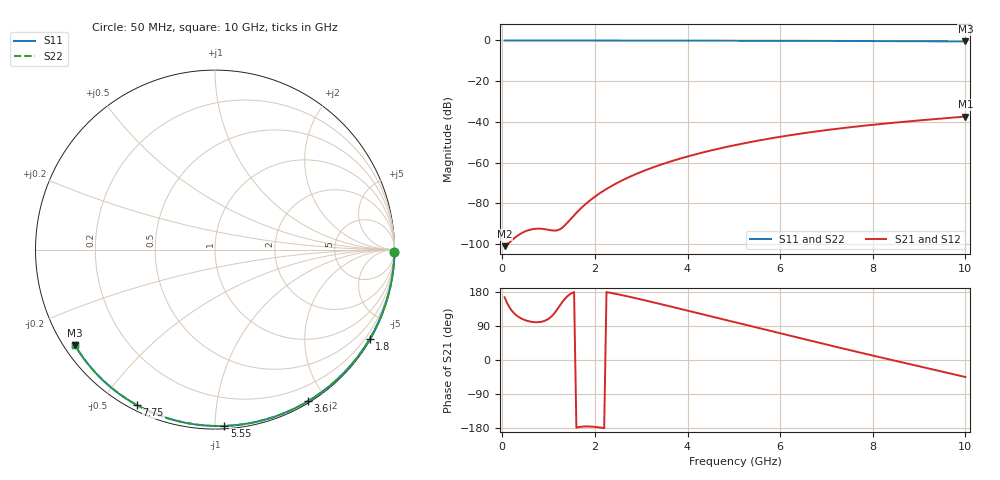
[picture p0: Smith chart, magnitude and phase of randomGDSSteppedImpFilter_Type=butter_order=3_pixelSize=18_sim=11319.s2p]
! freq	dB(S11)	phase(S11)	dB(S12)	phase(S12)
!  dB(S21)	phase(S21)	dB(S22)	phase(S22)
!S-par simulation data
#  GHz  S  DB  R 50
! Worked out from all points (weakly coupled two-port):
!   200 points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, 50 MHz to 10 GHz, reference 50 ohm
!   highest |S21| = -37.41 dB at 10 GHz (marker M1); lowest = -101.1 dB at 50 MHz (marker M2)
!   lowest |S11| = -0.5 dB at 10 GHz (marker M3), VSWR 35.21, Z = 1.56 - j15.4 ohm
!   |S11| at or under -10 dB: nowhere
!   |S22| runs from -0.5 to 0.0 dB; largest |S21 - S12| = 0
!   S11 on the Smith chart (normalised r, x): 50 MHz: open; 1.8 GHz: 0.03, -3.74; 3.6 GHz: 0.02, -1.79; 5.55 GHz: 0.02, -1.05; 7.75 GHz: 0.02, -0.62; 10 GHz: 0.03, -0.31
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0.05  -0.00 -0.8  -101.13 165.6  -101.13 165.6  -0.00 -0.8
0.45  -0.01 -7.6  -94.32 107.3  -94.32 107.3  -0.01 -7.6
0.9  -0.02 -15.1  -92.71 102.7  -92.71 102.7  -0.02 -15.1
1.3  -0.03 -21.7  -91.95 153.6  -91.95 153.6  -0.03 -21.7
1.75  -0.04 -29.1  -81.42 -175.5  -81.42 -175.5  -0.04 -29.1
1.8  -0.04 -29.9  -80.40 -175.3  -80.40 -175.3  -0.04 -29.9
1.85  -0.04 -30.8  -79.44 -175.3  -79.44 -175.3  -0.04 -30.7
2.05  -0.04 -34.0  -75.96 -177.2  -75.96 -177.2  -0.04 -34.0
2.2  -0.05 -36.4  -73.71 -179.8  -73.71 -179.8  -0.05 -36.4
2.5  -0.05 -41.2  -69.81 173.3  -69.81 173.3  -0.05 -41.2
2.9  -0.06 -47.5  -65.55 162.6  -65.55 162.6  -0.06 -47.5
3.4  -0.07 -55.3  -61.23 148.1  -61.23 148.1  -0.07 -55.3
3.6  -0.08 -58.4  -59.73 142.2  -59.73 142.2  -0.08 -58.4
4.3  -0.10 -68.9  -55.23 121.3  -55.23 121.3  -0.10 -68.9
5.05  -0.12 -79.9  -51.33 98.9  -51.33 98.9  -0.12 -79.8
5.55  -0.14 -87.0  -49.13 84.0  -49.13 84.0  -0.14 -86.9
6.1  -0.17 -94.6  -46.99 67.5  -46.99 67.5  -0.17 -94.6
6.7  -0.20 -102.8  -44.97 49.7  -44.97 49.7  -0.20 -102.7
7.75  -0.27 -116.7  -42.06 18.9  -42.06 18.9  -0.27 -116.6
8.35  -0.32 -124.5  -40.67 1.7  -40.67 1.7  -0.32 -124.4
9.2  -0.40 -135.4  -38.93 -22.2  -38.93 -22.2  -0.40 -135.4
10  -0.49 -145.7  -37.41 -44.9  -37.41 -44.9  -0.49 -145.7
